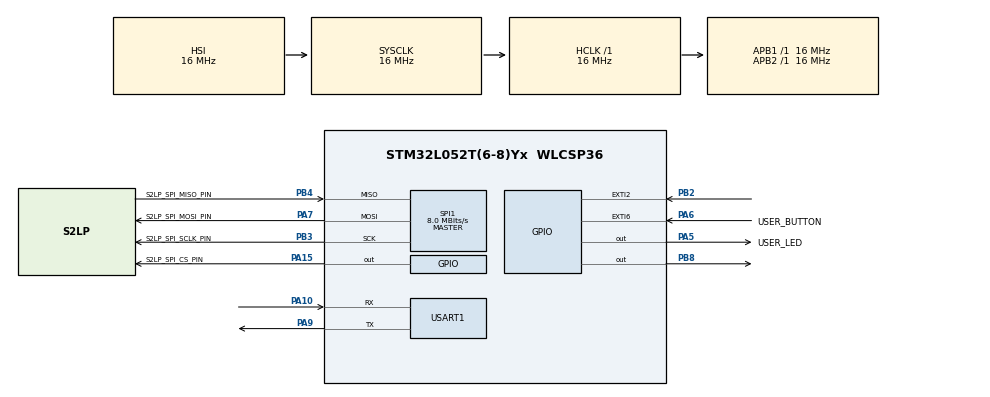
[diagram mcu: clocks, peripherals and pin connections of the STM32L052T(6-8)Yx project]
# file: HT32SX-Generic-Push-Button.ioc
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Dma.Request0=SPI1_TX
Dma.Request1=SPI1_RX
Dma.Request2=USART1_RX
Dma.Request3=USART1_TX
Dma.SPI1_RX.1.Direction=DMA_PERIPH_TO_MEMORY
Dma.SPI1_RX.1.Instance=DMA1_Channel2
Dma.SPI1_RX.1.MemDataAlignment=DMA_MDATAALIGN_BYTE
Dma.SPI1_RX.1.MemInc=DMA_MINC_ENABLE
Dma.SPI1_RX.1.Mode=DMA_NORMAL
Dma.SPI1_RX.1.PeriphDataAlignment=DMA_PDATAALIGN_BYTE
Dma.SPI1_RX.1.PeriphInc=DMA_PINC_DISABLE
Dma.SPI1_RX.1.Priority=DMA_PRIORITY_HIGH
Dma.SPI1_TX.0.Direction=DMA_MEMORY_TO_PERIPH
Dma.SPI1_TX.0.Instance=DMA1_Channel3
Dma.SPI1_TX.0.MemDataAlignment=DMA_MDATAALIGN_BYTE
Dma.SPI1_TX.0.MemInc=DMA_MINC_ENABLE
Dma.SPI1_TX.0.Mode=DMA_NORMAL
Dma.SPI1_TX.0.PeriphDataAlignment=DMA_PDATAALIGN_BYTE
Dma.SPI1_TX.0.PeriphInc=DMA_PINC_DISABLE
Dma.SPI1_TX.0.Priority=DMA_PRIORITY_HIGH
Dma.USART1_RX.2.Direction=DMA_PERIPH_TO_MEMORY
Dma.USART1_RX.2.Instance=DMA1_Channel5
Dma.USART1_RX.2.MemDataAlignment=DMA_MDATAALIGN_BYTE
Dma.USART1_RX.2.MemInc=DMA_MINC_ENABLE
Dma.USART1_RX.2.Mode=DMA_CIRCULAR
Dma.USART1_RX.2.PeriphDataAlignment=DMA_PDATAALIGN_BYTE
Dma.USART1_RX.2.PeriphInc=DMA_PINC_DISABLE
Dma.USART1_RX.2.Priority=DMA_PRIORITY_LOW
Dma.USART1_TX.3.Direction=DMA_MEMORY_TO_PERIPH
Dma.USART1_TX.3.Instance=DMA1_Channel4
Dma.USART1_TX.3.MemDataAlignment=DMA_MDATAALIGN_BYTE
Dma.USART1_TX.3.MemInc=DMA_MINC_ENABLE
Dma.USART1_TX.3.Mode=DMA_NORMAL
Dma.USART1_TX.3.PeriphDataAlignment=DMA_PDATAALIGN_BYTE
Dma.USART1_TX.3.PeriphInc=DMA_PINC_DISABLE
Dma.USART1_TX.3.Priority=DMA_PRIORITY_HIGH
Mcu.Family=STM32L0
Mcu.Name=STM32L052T(6-8)Yx
Mcu.Package=WLCSP36
NVIC.ADC1_COMP_IRQn=true\:2\:0\:true\:false\:true\:true\:true
NVIC.DMA1_Channel2_3_IRQn=true\:1\:0\:true\:false\:true\:false\:true
NVIC.DMA1_Channel4_5_6_7_IRQn=true\:0\:0\:false\:false\:true\:false\:true
NVIC.EXTI2_3_IRQn=true\:0\:0\:false\:false\:true\:true\:true
NVIC.EXTI4_15_IRQn=true\:2\:0\:true\:false\:true\:true\:true
NVIC.RTC_IRQn=true\:1\:0\:true\:false\:true\:true\:true
NVIC.TIM21_IRQn=true\:0\:0\:false\:false\:true\:true\:true
PA10.Mode=Asynchronous
PA10.Signal=USART1_RX
PA13.Mode=Serial_Wire
PA13.Signal=SYS_SWDIO
PA14.Mode=Serial_Wire
PA14.Signal=SYS_SWCLK
PA15.GPIO_Label=S2LP_SPI_CS_PIN
PA15.GPIO_PuPd=GPIO_PULLUP
PA15.GPIO_Speed=GPIO_SPEED_FREQ_HIGH
PA15.PinState=GPIO_PIN_SET
PA15.Signal=GPIO_Output
PA5.GPIO_Label=USER_LED
PA5.Signal=GPIO_Output
PA6.GPIO_Label=USER_BUTTON
PA6.GPIO_ModeDefaultEXTI=GPIO_MODE_IT_FALLING
PA6.GPIO_PuPd=GPIO_PULLUP
PA6.Signal=GPXTI6
PA7.GPIO_Label=S2LP_SPI_MOSI_PIN
PA7.GPIO_PuPd=GPIO_PULLUP
PA7.GPIO_Speed=GPIO_SPEED_FREQ_HIGH
PA7.Mode=Full_Duplex_Master
PA7.Signal=SPI1_MOSI
PA9.Mode=Asynchronous
PA9.Signal=USART1_TX
PB2.GPIO_ModeDefaultEXTI=GPIO_MODE_IT_FALLING
PB2.Signal=GPXTI2
PB3.GPIO_Label=S2LP_SPI_SCLK_PIN
PB3.GPIO_PuPd=GPIO_PULLUP
PB3.GPIO_Speed=GPIO_SPEED_FREQ_HIGH
PB3.Mode=Full_Duplex_Master
PB3.Signal=SPI1_SCK
PB4.GPIO_Label=S2LP_SPI_MISO_PIN
PB4.GPIO_PuPd=GPIO_PULLUP
PB4.GPIO_Speed=GPIO_SPEED_FREQ_HIGH
PB4.Mode=Full_Duplex_Master
PB4.Signal=SPI1_MISO
PB8.GPIO_Speed=GPIO_SPEED_FREQ_HIGH
PB8.Signal=GPIO_Output
ProjectManager.HeapSize=0x200
ProjectManager.StackSize=0x400
ProjectManager.TargetToolchain=STM32CubeIDE
RCC.AHBFreq_Value=16000000
RCC.APB1Freq_Value=16000000
RCC.APB1TimFreq_Value=16000000
RCC.APB2Freq_Value=16000000
RCC.APB2TimFreq_Value=16000000
RCC.HCLKFreq_Value=16000000
RCC.HSI16_VALUE=16000000
RCC.HSI48_VALUE=48000000
RCC.HSI_VALUE=16000000
RCC.LSE_VALUE=32768
RCC.MSI_VALUE=2097000
RCC.PLLDIV=RCC_PLLDIV_4
RCC.PLLMUL=RCC_PLLMUL_4
RCC.SYSCLKFreq_VALUE=16000000
RCC.SYSCLKSource=RCC_SYSCLKSOURCE_HSI
RCC.VCOOutputFreq_Value=64000000
RTC.WakeUpCounter=1000
SPI1.CalculateBaudRate=8.0 MBits/s
SPI1.Direction=SPI_DIRECTION_2LINES
SPI1.Mode=SPI_MODE_MASTER
SPI1.VirtualType=VM_MASTER
TIM21.Period=50-1
TIM21.Prescaler=16000-1
USART1.VirtualMode-Asynchronous=VM_ASYNC
VP_ADC_TempSens_Input.Mode=IN-TempSens
VP_ADC_Vref_Input.Mode=IN-Vrefint
VP_RTC_VS_RTC_Activate.Mode=RTC_Enabled
VP_RTC_VS_RTC_Calendar.Mode=RTC_Calendar
VP_RTC_VS_RTC_WakeUp_intern.Mode=WakeUp
VP_TIM21_VS_ClockSourceINT.Mode=Internal
VP_TIM2_VS_ClockSourceINT.Mode=Internal
board=custom

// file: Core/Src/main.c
/* USER CODE BEGIN Header */
/**
 ******************************************************************************
 * @file           : main.c
 * @brief          : Main program body
 ******************************************************************************
 * @attention
 *
 * <h2><center>&copy; Copyright (c) 2019 STMicroelectronics.
 * All rights reserved.</center></h2>
 *
 * This software component is licensed by ST under BSD 3-Clause license,
 * the "License"; You may not use this file except in compliance with the
 * License. You may obtain a copy of the License at:
 *                        opensource.org/licenses/BSD-3-Clause
 *
 ******************************************************************************
 */
/* USER CODE END Header */

#include "main.h"
#include "adc.h"
#include "dma.h"
#include "rtc.h"
#include "spi.h"
#include "tim.h"
#include "usart.h"
#include "gpio.h"

/* USER CODE BEGIN PD */

#ifdef DOWNLINK_FLAG
static uint8_t downlink_request = 1;
#else
static uint8_t downlink_request = 0;
#endif
/* USER CODE END PD */

void SystemClock_Config(void);
/* USER CODE BEGIN PFP */
void ST_Init(void);
/* USER CODE END PFP */

int main(void)
{

	/* MCU Configuration--------------------------------------------------------*/

	/* Reset of all peripherals, Initializes the Flash interface and the Systick. */
	HAL_Init();

	/* Configure the system clock */
	SystemClock_Config();

	/* Initialize all configured peripherals */
	MX_GPIO_Init();
	MX_DMA_Init();
	MX_RTC_Init();
	MX_SPI1_Init();
	MX_USART1_UART_Init();
	MX_ADC_Init();
	MX_TIM2_Init();
	MX_TIM21_Init();
	/* USER CODE BEGIN 2 */

	mcuConfig();

	/********** OPEN AND CONFIFIGURES SIGFOX LIBRARY IN RCZ2 *********************/
	/********** IN ORDER TO OPEN OTHER RCZS, SEE SIGFOX_API.h **/
	/********** BASICALLY CHANGES TO OTHER RC VALUE LIKE RCZ3 **/
	HT_API_ConfigRegion(RCZ2);

	/* USER CODE END 2 */

	/* Infinite loop */
	while (1)
	{

		/* USER CODE BEGIN 3 */

		/*
		 *
		 * Wait for an external interrupt on the user button PA6.
		 * More information about the algorithm can be found in the function HT_GPIO_UserButtonHandler located in Core/Src/gpio.c.
		 *
		 * */

	}
	/* USER CODE END 3 */
}

void SystemClock_Config(void)
{
	RCC_OscInitTypeDef RCC_OscInitStruct = {0};
	RCC_ClkInitTypeDef RCC_ClkInitStruct = {0};
	RCC_PeriphCLKInitTypeDef PeriphClkInit = {0};

	/** Configure the main internal regulator output voltage
	 */
	__HAL_PWR_VOLTAGESCALING_CONFIG(PWR_REGULATOR_VOLTAGE_SCALE1);
	/** Initializes the CPU, AHB and APB busses clocks
	 */
	RCC_OscInitStruct.OscillatorType = RCC_OSCILLATORTYPE_HSI|RCC_OSCILLATORTYPE_LSI;
	RCC_OscInitStruct.HSIState = RCC_HSI_ON;
	RCC_OscInitStruct.HSICalibrationValue = RCC_HSICALIBRATION_DEFAULT;
	RCC_OscInitStruct.LSIState = RCC_LSI_ON;
	RCC_OscInitStruct.PLL.PLLState = RCC_PLL_NONE;
	if (HAL_RCC_OscConfig(&RCC_OscInitStruct) != HAL_OK)
	{
		Error_Handler();
	}
	/** Initializes the CPU, AHB and APB busses clocks
	 */
	RCC_ClkInitStruct.ClockType = RCC_CLOCKTYPE_HCLK|RCC_CLOCKTYPE_SYSCLK
			|RCC_CLOCKTYPE_PCLK1|RCC_CLOCKTYPE_PCLK2;
	RCC_ClkInitStruct.SYSCLKSource = RCC_SYSCLKSOURCE_HSI;
	RCC_ClkInitStruct.AHBCLKDivider = RCC_SYSCLK_DIV1;
	RCC_ClkInitStruct.APB1CLKDivider = RCC_HCLK_DIV1;
	RCC_ClkInitStruct.APB2CLKDivider = RCC_HCLK_DIV1;

	if (HAL_RCC_ClockConfig(&RCC_ClkInitStruct, FLASH_LATENCY_0) != HAL_OK)
	{
		Error_Handler();
	}
	PeriphClkInit.PeriphClockSelection = RCC_PERIPHCLK_USART1|RCC_PERIPHCLK_RTC;
	PeriphClkInit.Usart1ClockSelection = RCC_USART1CLKSOURCE_PCLK2;
	PeriphClkInit.RTCClockSelection = RCC_RTCCLKSOURCE_LSI;
	if (HAL_RCCEx_PeriphCLKConfig(&PeriphClkInit) != HAL_OK)
	{
		Error_Handler();
	}
}

/* USER CODE BEGIN 4 */

sfx_error_t HT_API_SendFrame(void) {

	/********** SEND MESSAGE TO RCZ2 ****************************/

	uint8_t customer_data[]={"Hello World"};
	uint8_t customer_resp[8];
	sfx_error_t err;

#ifdef DOWNLINK_FLAG
	HAL_TIM_Base_Start_IT(&htim21);
#endif

	/********** FUNCTION PARAMETERS  ****************************/
	/********** THE LAST ONE IS TO REQUEST DOWNLINK ************/
	/********** 1 - YES, 0 - NO	 ******************************/

	err=SIGFOX_API_send_frame(customer_data,sizeof(customer_data),customer_resp, 3, downlink_request);

	if(downlink_request && !err) {
		printf("Customer resp: {");

		for(uint16_t i = 0; i < 7; i++)
			printf("0x%x,", customer_resp[i]);

		printf("0x%x}\n\r", customer_resp[7]);
	}

	printf("\nError Send Frame: %X\n", err);

#ifdef DOWNLINK_FLAG
	HAL_TIM_Base_Stop_IT(&htim21);
#endif

	return err;
}

void mcuConfig(void) {
	ST_SFX_ERR stSfxRetErr;

	ST_Init();

	NVM_BoardDataType sfxConfiguration;
	stSfxRetErr = ST_Sigfox_Init(&sfxConfiguration, 0);

	if(stSfxRetErr != ST_SFX_ERR_NONE) {
		if(stSfxRetErr == ST_SFX_ERR_CREDENTIALS) {
			sfxConfiguration.id = 0;
			memset(sfxConfiguration.pac, 0x00, 8);
			sfxConfiguration.rcz = 0;

		}
	}

	/* Calibrate RTC in case of STM32*/
	ST_MCU_API_TimerCalibration(500);

	printf("Sigfox iMCP HT32SX\n");

	printf("ID: %.8X - PAC: ", (unsigned int)sfxConfiguration.id);

	for(uint16_t i = 0; i < sizeof(sfxConfiguration.pac); i++)
	{
		printf("%.2X", sfxConfiguration.pac[i]);
	}

	printf("\n");

	/*			SET S2LP XTAL FREQUENCY														*/
	/*			DO NOT CHANGE IT																	*/

	ST_RF_API_set_xtal_freq(50000000);

	/*			SET A PROPER FREQUENCY OFFSET											*/
	/*			THIS VALUE CAN BE FOUND IN CREDENTIALS 						*/

	ST_RF_API_set_freq_offset(sfxConfiguration.freqOffset);
	printf("Freq Offset %ld \n", (int32_t)sfxConfiguration.freqOffset);

	/*			SET LBT OFFSET																		*/
	/*			THIS VALUE CAN BE FOUND IN CREDENTIALS 						*/

	ST_RF_API_set_lbt_thr_offset(sfxConfiguration.lbtOffset);
	printf("LBT %ld \n", (int32_t)sfxConfiguration.lbtOffset);

	/*			SET RSSI OFFSET																		*/
	/*			THIS VALUE CAN BE FOUND IN CREDENTIALS 						*/

	ST_RF_API_set_rssi_offset(sfxConfiguration.rssiOffset);
	printf("RSSI %ld \n", sfxConfiguration.rssiOffset);
}

void ST_Init(void) {
	/* Put the radio off */
	S2LPShutdownInit();
	HAL_Delay(10);
	S2LPShutdownExit();

	/* FEM Initialization */
	FEM_Init();
}

/* USER CODE END 4 */

void Error_Handler(void)
{
}

/************************ (C) COPYRIGHT STMicroelectronics *****END OF FILE****/
